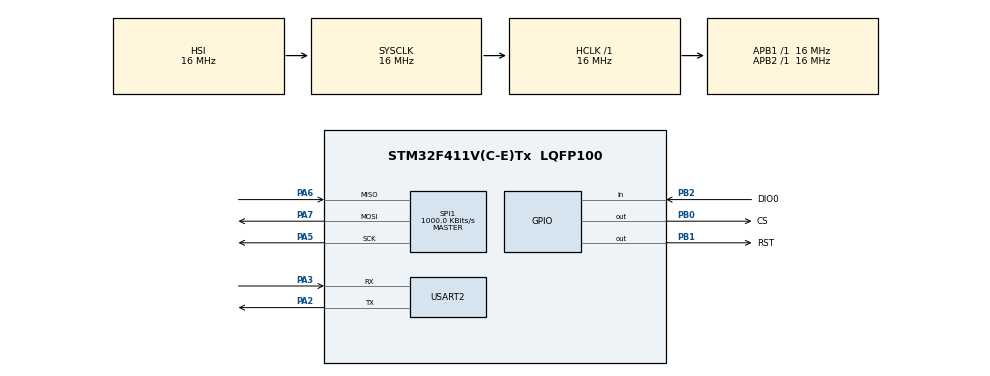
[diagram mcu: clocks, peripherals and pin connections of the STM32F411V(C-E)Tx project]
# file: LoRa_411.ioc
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Mcu.Family=STM32F4
Mcu.Name=STM32F411V(C-E)Tx
Mcu.Package=LQFP100
NVIC.PriorityGroup=NVIC_PRIORITYGROUP_4
PA2.Mode=Asynchronous
PA2.Signal=USART2_TX
PA3.Mode=Asynchronous
PA3.Signal=USART2_RX
PA5.Mode=Full_Duplex_Master
PA5.Signal=SPI1_SCK
PA6.Mode=Full_Duplex_Master
PA6.Signal=SPI1_MISO
PA7.Mode=Full_Duplex_Master
PA7.Signal=SPI1_MOSI
PB0.GPIO_Label=CS
PB0.Signal=GPIO_Output
PB1.GPIO_Label=RST
PB1.Signal=GPIO_Output
PB2.GPIO_Label=DIO0
PB2.Signal=GPIO_Input
ProjectManager.HeapSize=0x200
ProjectManager.StackSize=0x400
ProjectManager.TargetToolchain=STM32CubeIDE
RCC.AHBFreq_Value=16000000
RCC.APB1Freq_Value=16000000
RCC.APB2Freq_Value=16000000
RCC.CortexFreq_Value=16000000
RCC.HSE_VALUE=25000000
RCC.HSI_VALUE=16000000
RCC.LSE_VALUE=32768
RCC.SYSCLKFreq_VALUE=16000000
RCC.VCOOutputFreq_Value=192000000
SPI1.BaudRatePrescaler=SPI_BAUDRATEPRESCALER_16
SPI1.CalculateBaudRate=1000.0 KBits/s
SPI1.Direction=SPI_DIRECTION_2LINES
SPI1.Mode=SPI_MODE_MASTER
SPI1.VirtualType=VM_MASTER
USART2.VirtualMode=VM_ASYNC
board=custom

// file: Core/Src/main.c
/* USER CODE BEGIN Header */
/**
  ******************************************************************************
  * @file           : main.c
  * @brief          : Main program body
  ******************************************************************************
  * @attention
  *
  * <h2><center>&copy; Copyright (c) 2021 STMicroelectronics.
  * All rights reserved.</center></h2>
  *
  * This software component is licensed by ST under BSD 3-Clause license,
  * the "License"; You may not use this file except in compliance with the
  * License. You may obtain a copy of the License at:
  *                        opensource.org/licenses/BSD-3-Clause
  *
  ******************************************************************************
  */
/* USER CODE END Header */
#include "main.h"
#include "spi.h"
#include "usart.h"
#include "gpio.h"

/* USER CODE BEGIN PD */

// Registers

#define REG_FIFO                    0x00
#define REG_OPMODE                  0x01

#define REG_FIFO_ADDR_PTR           0x0D
#define REG_FIFO_TX_BASE_AD         0x0E
#define REG_FIFO_RX_BASE_AD         0x0F

#define REG_RX_NB_BYTES             0x13
#define REG_FIFO_RX_CURRENT_ADDR    0x10
#define REG_IRQ_FLAGS               0x12
#define REG_DIO_MAPPING_1           0x40
#define REG_DIO_MAPPING_2           0x41
#define REG_MODEM_CONFIG            0x1D
#define REG_MODEM_CONFIG2           0x1E
#define REG_MODEM_CONFIG3           0x26
#define REG_SYMB_TIMEOUT_LSB  		0x1F
#define REG_PKT_SNR_VALUE			0x19
#define REG_PAYLOAD_LENGTH          0x22
#define REG_IRQ_FLAGS_MASK          0x11
#define REG_MAX_PAYLOAD_LENGTH 		0x23
#define REG_HOP_PERIOD              0x24
#define REG_SYNC_WORD				0x39
#define REG_VERSION	  				0x42

#define PAYLOAD_LENGTH              0x40

// ----------------------------------------
// Constants for radio registers
#define OPMODE_LORA      0x80
#define OPMODE_MASK      0x07
#define OPMODE_SLEEP     0x00
#define OPMODE_STANDBY   0x01
#define OPMODE_FSTX      0x02
#define OPMODE_TX        0x03
#define OPMODE_FSRX      0x04
#define OPMODE_RX        0x05
#define OPMODE_RX_SINGLE 0x06
#define OPMODE_CAD       0x07

// FRF
#define        REG_FRF_MSB              0x06
#define        REG_FRF_MID              0x07
#define        REG_FRF_LSB              0x08

#define        FRF_MSB                  0xD9 // 868.1 Mhz
#define        FRF_MID                  0x06
#define        FRF_LSB                  0x66

// ----------------------------------------
// Bits masking the corresponding IRQs from the radio
#define IRQ_LORA_RXTOUT_MASK 0x80
#define IRQ_LORA_RXDONE_MASK 0x40
#define IRQ_LORA_CRCERR_MASK 0x20
#define IRQ_LORA_HEADER_MASK 0x10
#define IRQ_LORA_TXDONE_MASK 0x08
#define IRQ_LORA_CDDONE_MASK 0x04
#define IRQ_LORA_FHSSCH_MASK 0x02
#define IRQ_LORA_CDDETD_MASK 0x01

// DIO function mappings                D0D1D2D3
#define MAP_DIO0_LORA_RXDONE   0x00  // 00------
#define MAP_DIO0_LORA_TXDONE   0x40  // 01------
#define MAP_DIO1_LORA_RXTOUT   0x00  // --00----
#define MAP_DIO1_LORA_NOP      0x30  // --11----
#define MAP_DIO2_LORA_NOP      0xC0  // ----11--

// LOW NOISE AMPLIFIER
#define REG_LNA			0x0C
#define LNA_MAX_GAIN	0x23
#define LNA_OFF_GAIN	0x00
#define LNA_LOW_GAIN	0x20

#define RegDioMapping1	0x40 // common
#define RegDioMapping2	0x41 // common

#define RegPaConfig		0x09 // common
#define RegPaRamp		0x0A // common
#define RegPaDac		0x5A // common

/* USER CODE END PD */

/* USER CODE BEGIN PV */

char rx_data[256];
char tx_data[256];
unsigned char hello[32];// = "HELLO! ";

unsigned char receivedbytes;

/* USER CODE END PV */

void SystemClock_Config(void);
/* USER CODE BEGIN PFP */

void 	SPI_CS_LOW		();
void 	SPI_CS_HIGH		();

unsigned char Read_Reg		(unsigned char addr);
void 	Write_Reg		(unsigned char addr , unsigned char value);
void 	Write_Buf		(unsigned char addr, unsigned char *value, unsigned char len);

void 	set_OPMODE		(uint8_t mode);
void 	set_LoRa_mode	();
void 	set_Freq		(uint64_t freq);
void 	set_config		();
void 	set_Power		(int8_t pw);

uint8_t Receive		(char * payload);
void 	Transmit	(unsigned char *frame, unsigned char datalen);

/* USER CODE END PFP */

/* USER CODE BEGIN 0 */

int _write(int file , char *ptr , int len){
  HAL_UART_Transmit(&huart2 , ptr , len , 50);
  return len;
}

void SPI_CS_LOW(){
	HAL_GPIO_WritePin(CS_GPIO_Port, CS_Pin, GPIO_PIN_RESET);
}

void SPI_CS_HIGH(){
	HAL_GPIO_WritePin(CS_GPIO_Port, CS_Pin, GPIO_PIN_SET);
}

unsigned char Read_Reg(unsigned char addr){
	uint8_t reg = addr & 0x7F;
	uint8_t data;

	SPI_CS_LOW();
	HAL_SPI_Transmit(&hspi1, &reg, 1 , HAL_MAX_DELAY);
	HAL_SPI_Receive(&hspi1, &data, 1, HAL_MAX_DELAY);
	SPI_CS_HIGH();

	return data;
}

void Write_Reg(unsigned char addr , unsigned char value){
	uint8_t reg = addr | 0x80;
	uint8_t Value = value;

	SPI_CS_LOW();
	HAL_SPI_Transmit(&hspi1, &reg,	1 , HAL_MAX_DELAY);
	HAL_SPI_Transmit(&hspi1, &Value,1 , HAL_MAX_DELAY);
	SPI_CS_HIGH();
}

void set_OPMODE(uint8_t mode){
	Write_Reg(REG_OPMODE, Read_Reg(REG_OPMODE) & ~OPMODE_MASK | mode );
}

void set_LoRa_mode(){
	set_OPMODE(OPMODE_SLEEP);
	HAL_Delay(15);

	uint8_t data = OPMODE_LORA;
	Write_Reg(REG_OPMODE, data);
}

void set_Freq(uint64_t freq){
	set_OPMODE(OPMODE_SLEEP);
	HAL_Delay(15);

	uint64_t frf = (( uint64_t)freq <<14 );  // freq *  2^19 / 32
	Write_Reg(REG_FRF_MSB, (uint8_t)(frf>>16) );
	Write_Reg(REG_FRF_MID, (uint8_t)(frf>>8) );
	Write_Reg(REG_FRF_LSB, (uint8_t)(frf>>0) );
}

void set_config(){
	set_OPMODE(OPMODE_SLEEP);
	HAL_Delay(15);

	set_LoRa_mode();

	unsigned char version = Read_Reg(REG_VERSION);

	printf("%d version \n\r", version);

	Write_Reg(REG_SYNC_WORD, 0x34);

	Write_Reg(REG_MODEM_CONFIG3,0x04);
	Write_Reg(REG_MODEM_CONFIG,0x72);
	Write_Reg(REG_MODEM_CONFIG2, (0x07<<4) | 0x04);

	Write_Reg(REG_SYMB_TIMEOUT_LSB,0x08);

	Write_Reg(REG_MAX_PAYLOAD_LENGTH, 0x80);
	Write_Reg(REG_PAYLOAD_LENGTH, PAYLOAD_LENGTH);
	Write_Reg(REG_HOP_PERIOD, 0xFF);
	Write_Reg(REG_FIFO_ADDR_PTR, Read_Reg(REG_FIFO_TX_BASE_AD));

	Write_Reg(REG_LNA, LNA_MAX_GAIN);
}

uint8_t Receive(char *payload){
	Write_Reg(REG_IRQ_FLAGS, 0x40);

	int IRQ = Read_Reg(REG_IRQ_FLAGS);

	if(( IRQ & 0x20) == 0x20){
		printf("CRC error \n\r");
		Write_Reg(REG_IRQ_FLAGS, 0x20);
		return 0;
	}
	else {
		uint8_t currentAddr = Read_Reg(REG_FIFO_RX_CURRENT_ADDR);
		uint8_t receivedCount = Read_Reg(REG_RX_NB_BYTES);
		receivedbytes = receivedCount;

		Write_Reg(REG_FIFO_ADDR_PTR, currentAddr);

		for(int i = 0; i < receivedCount; i++)
			payload[i] = (char)Read_Reg(REG_FIFO);
	}

	return 1;
}

void Write_Buf(unsigned char addr, unsigned char *value, unsigned char len) {

	uint8_t reg = addr | 0x80;
	uint8_t buf[256];
	for (int i = 0; i < len; i++) {
		buf[i] = value[i];
	}

	SPI_CS_LOW();
	HAL_SPI_Transmit(&hspi1, &reg, 1, HAL_MAX_DELAY);
	HAL_SPI_Transmit(&hspi1, buf, len, HAL_MAX_DELAY);
	SPI_CS_HIGH();
}

void Transmit(unsigned char *frame, unsigned char datalen) {

	Write_Reg(REG_HOP_PERIOD,0x00);
	Write_Reg(RegDioMapping1, MAP_DIO0_LORA_TXDONE|MAP_DIO1_LORA_NOP|MAP_DIO2_LORA_NOP);
	Write_Reg(REG_IRQ_FLAGS, 0xFF);
	Write_Reg(REG_IRQ_FLAGS_MASK, ~IRQ_LORA_TXDONE_MASK);

	Write_Reg(REG_FIFO_TX_BASE_AD, 0x00);
	Write_Reg(REG_FIFO_ADDR_PTR, 0x00);
	Write_Reg(REG_PAYLOAD_LENGTH, datalen);

	Write_Buf(REG_FIFO, frame, datalen);
	set_OPMODE(OPMODE_TX);
}

void set_Power(int8_t pw) {
	if(pw >= 17) {
		pw = 15;
	} else if(pw < 2) {
		pw = 2;
	}
	Write_Reg(RegPaConfig, (uint8_t)(0x80|(pw&0xf)));
	Write_Reg(RegPaDac, Read_Reg(RegPaDac)|0x4);

}

/* USER CODE END 0 */

int main(void)
{

  /* MCU Configuration--------------------------------------------------------*/

  /* Reset of all peripherals, Initializes the Flash interface and the Systick. */
  HAL_Init();

  /* Configure the system clock */
  SystemClock_Config();

  /* Initialize all configured peripherals */
  MX_GPIO_Init();
  MX_SPI1_Init();
  MX_USART2_UART_Init();

  /* Infinite loop */
  /* USER CODE BEGIN WHILE */

  printf("Sending \n\n\n\r");
  HAL_GPIO_WritePin(RST_GPIO_Port, RST_Pin, GPIO_PIN_SET);
  HAL_Delay(100);
  HAL_GPIO_WritePin(RST_GPIO_Port, RST_Pin, GPIO_PIN_RESET);
  HAL_Delay(100);
  HAL_GPIO_WritePin(RST_GPIO_Port, RST_Pin, GPIO_PIN_SET);
  HAL_Delay(100);

  set_Freq(868);
  set_config();
  set_LoRa_mode();

  set_OPMODE(OPMODE_STANDBY);
  Write_Reg(RegPaRamp, (Read_Reg(RegPaRamp)& 0xF0) | 0x80 );
  set_Power(23);

  while (1)
  {
	strncpy((char *)hello, "HELO", sizeof(hello));
	Transmit(hello, strlen((char*)hello));
	//HAL_Delay(100);

    /* USER CODE END WHILE */

  }
}

void SystemClock_Config(void)
{
  RCC_OscInitTypeDef RCC_OscInitStruct = {0};
  RCC_ClkInitTypeDef RCC_ClkInitStruct = {0};

  /** Configure the main internal regulator output voltage
  */
  __HAL_RCC_PWR_CLK_ENABLE();
  __HAL_PWR_VOLTAGESCALING_CONFIG(PWR_REGULATOR_VOLTAGE_SCALE1);
  /** Initializes the RCC Oscillators according to the specified parameters
  * in the RCC_OscInitTypeDef structure.
  */
  RCC_OscInitStruct.OscillatorType = RCC_OSCILLATORTYPE_HSI;
  RCC_OscInitStruct.HSIState = RCC_HSI_ON;
  RCC_OscInitStruct.HSICalibrationValue = RCC_HSICALIBRATION_DEFAULT;
  RCC_OscInitStruct.PLL.PLLState = RCC_PLL_NONE;
  if (HAL_RCC_OscConfig(&RCC_OscInitStruct) != HAL_OK)
  {
    Error_Handler();
  }
  /** Initializes the CPU, AHB and APB buses clocks
  */
  RCC_ClkInitStruct.ClockType = RCC_CLOCKTYPE_HCLK|RCC_CLOCKTYPE_SYSCLK
                              |RCC_CLOCKTYPE_PCLK1|RCC_CLOCKTYPE_PCLK2;
  RCC_ClkInitStruct.SYSCLKSource = RCC_SYSCLKSOURCE_HSI;
  RCC_ClkInitStruct.AHBCLKDivider = RCC_SYSCLK_DIV1;
  RCC_ClkInitStruct.APB1CLKDivider = RCC_HCLK_DIV1;
  RCC_ClkInitStruct.APB2CLKDivider = RCC_HCLK_DIV1;

  if (HAL_RCC_ClockConfig(&RCC_ClkInitStruct, FLASH_LATENCY_0) != HAL_OK)
  {
    Error_Handler();
  }
}

void Error_Handler(void)
{
  __disable_irq();
  while (1)
  {
  }
}

/************************ (C) COPYRIGHT STMicroelectronics *****END OF FILE****/
